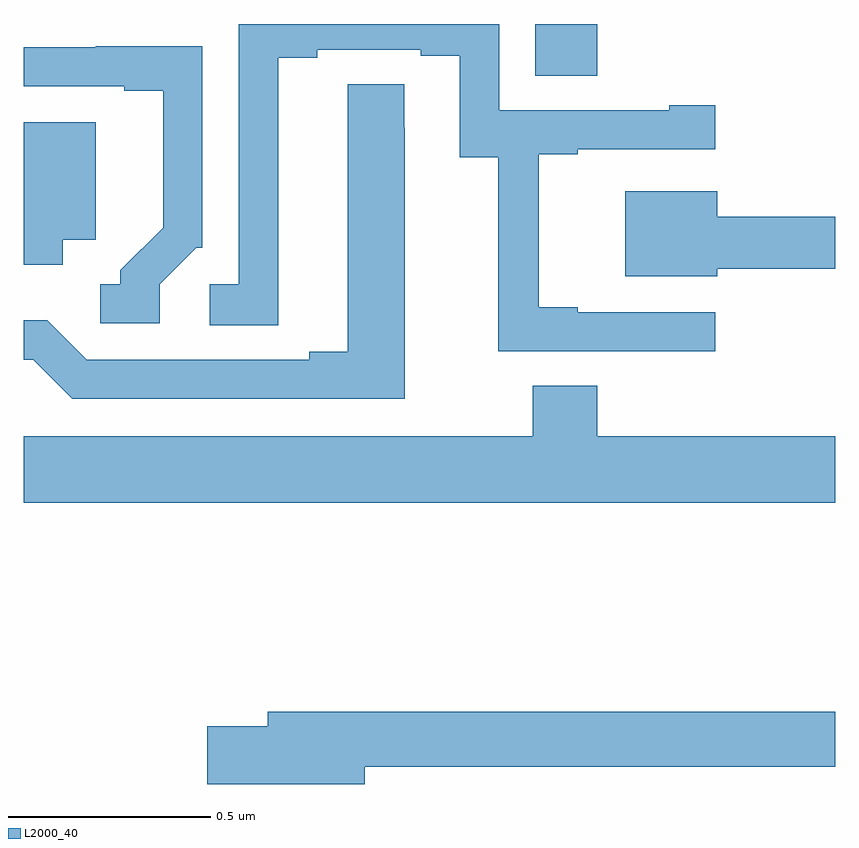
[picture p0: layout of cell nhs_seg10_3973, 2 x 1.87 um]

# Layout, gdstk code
import gdstk
lib = gdstk.Library(unit=1e-6, precision=1e-09)
def R(c, l, rs):  # rectangles x0, y0, x1, y1
    for r in rs: c.add(gdstk.rectangle(r[:2], r[2:], *l))
def P(c, l, *ps):  # polygons
    for p in ps: c.add(gdstk.Polygon(p, *l))
L2000_40 = (2000, 40)

nhs_seg10_3973 = lib.new_cell('nhs_seg10_3973')
R(nhs_seg10_3973, L2000_40, [(161.261,1297.372,161.414,1297.5)])
P(nhs_seg10_3973, L2000_40, [(161.704,1296.789),(161.365,1296.789),(161.365,1296.802),(161.27,1296.802),(161.27,1297.179),(161.365,1297.179),(161.365,1297.191),(161.704,1297.191),(161.704,1297.3),(161.591,1297.3),(161.591,1297.287),(161.172,1297.287),(161.172,1297.5),(160.53,1297.5),(160.53,1296.858),(160.458,1296.858),(160.458,1296.757),(160.627,1296.757),(160.627,1297.417),(160.723,1297.417),(160.723,1297.437),(160.979,1297.437),(160.979,1297.422),(161.075,1297.422),(161.075,1297.171),(161.17,1297.171),(161.17,1296.693),(161.704,1296.693)],
  [(160.335,1296.858),(160.425,1296.948),(160.44,1296.948),(160.44,1297.445),(160.177,1297.445),(160.177,1297.443),(160,1297.443),(160,1297.347),(160.247,1297.347),(160.247,1297.335),(160.343,1297.335),(160.343,1296.998),(160.238,1296.893),(160.238,1296.858),(160.188,1296.858),(160.188,1296.762),(160.335,1296.762)],
  [(160.939,1297.244),(160.938,1297.244),(160.938,1297.352),(160.799,1297.352),(160.799,1296.692),(160.703,1296.692),(160.703,1296.672),(160.155,1296.672),(160.058,1296.769),(160,1296.769),(160,1296.672),(160.023,1296.672),(160.119,1296.576),(160.939,1296.576)],
  [(160.096,1296.968),(160.177,1296.968),(160.177,1297.258),(160,1297.258),(160,1296.906),(160.096,1296.906)],
  [(161.71,1296.897),(162,1296.897),(162,1297.025),(161.71,1297.025),(161.71,1297.087),(161.483,1297.087),(161.483,1296.878),(161.71,1296.878)],
  [(162,1296.484),(161.414,1296.484),(161.414,1296.608),(161.254,1296.608),(161.254,1296.484),(160,1296.484),(160,1296.32),(162,1296.32)],
  [(160.84,1295.668),(162,1295.668),(162,1295.804),(160.601,1295.804),(160.601,1295.768),(160.452,1295.768),(160.452,1295.626),(160.84,1295.626)])

lib.write_gds('nhs_seg10_3973.gds')
